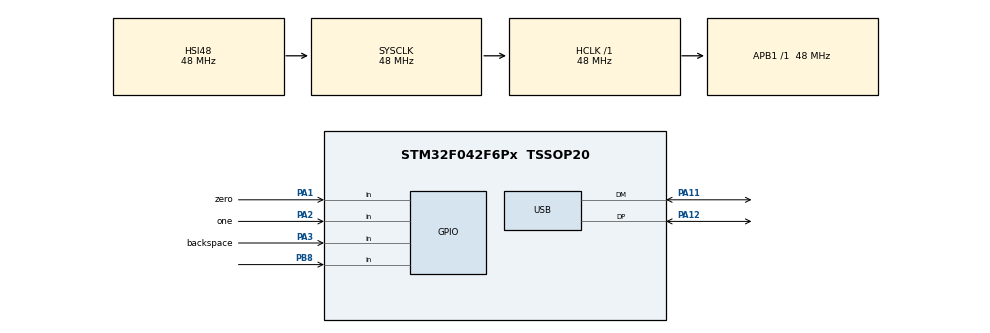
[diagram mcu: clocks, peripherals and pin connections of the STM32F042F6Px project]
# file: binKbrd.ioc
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Mcu.Family=STM32F0
Mcu.Name=STM32F042F6Px
Mcu.Package=TSSOP20
NVIC.USB_IRQn=true\:0\:0\:false\:false\:true\:false\:true
PA1.GPIO_Label=zero
PA1.GPIO_PuPd=GPIO_PULLUP
PA1.Signal=GPIO_Input
PA11.Mode=Device
PA11.Signal=USB_DM
PA12.Mode=Device
PA12.Signal=USB_DP
PA13.Mode=Serial_Wire
PA13.Signal=SYS_SWDIO
PA14.Mode=Serial_Wire
PA14.Signal=SYS_SWCLK
PA2.GPIO_Label=one
PA2.GPIO_PuPd=GPIO_PULLUP
PA2.Signal=GPIO_Input
PA3.GPIO_Label=backspace
PA3.GPIO_PuPd=GPIO_PULLUP
PA3.Signal=GPIO_Input
PB8.Signal=GPIO_Input
ProjectManager.HeapSize=0x200
ProjectManager.StackSize=0x400
ProjectManager.TargetToolchain=STM32CubeIDE
RCC.AHBFreq_Value=48000000
RCC.APB1Freq_Value=48000000
RCC.APB1TimFreq_Value=48000000
RCC.HCLKFreq_Value=48000000
RCC.SYSCLKFreq_VALUE=48000000
RCC.SYSCLKSource=RCC_SYSCLKSOURCE_HSI48
USB_DEVICE.CLASS_NAME_FS=HID
USB_DEVICE.MANUFACTURER_STRING=Predebon
USB_DEVICE.PID_HID_FS=0
USB_DEVICE.PRODUCT_STRING_HID_FS=Binary Keyboard
USB_DEVICE.VID=0
USB_DEVICE.VirtualMode=Hid
USB_DEVICE.VirtualModeFS=Hid_FS
VP_SYS_VS_PINREMAP.Mode=PINREMAP
VP_TIM1_VS_ClockSourceINT.Mode=Internal
VP_USB_DEVICE_VS_USB_DEVICE_HID_FS.Mode=HID_FS
board=custom

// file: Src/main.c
/* USER CODE BEGIN Header */
/**
  ******************************************************************************
  * @file           : main.c
  * @brief          : Main program body
  ******************************************************************************
  * @attention
  *
  * <h2><center>&copy; Copyright (c) 2019 STMicroelectronics.
  * All rights reserved.</center></h2>
  *
  * This software component is licensed by ST under BSD 3-Clause license,
  * the "License"; You may not use this file except in compliance with the
  * License. You may obtain a copy of the License at:
  *                        opensource.org/licenses/BSD-3-Clause
  *
  ******************************************************************************
  */
/* USER CODE END Header */

#include "main.h"
#include "usb_device.h"

/* USER CODE BEGIN Includes */
#include "usbd_hid.h"
extern USBD_HandleTypeDef hUsbDeviceFS;
#include "hid_defines.h"
/* USER CODE END Includes */

TIM_HandleTypeDef htim1;

/* USER CODE BEGIN PV */
uint8_t keyboardReport[8]={0};
uint8_t bitIndex=0;
uint8_t binVal=0;
uint8_t bot0_prev=0,bot1_prev=0,backspace_prev=0;
uint8_t printBits=0;
/* USER CODE END PV */

void SystemClock_Config(void);
static void MX_GPIO_Init(void);
static void MX_TIM1_Init(void);
/* USER CODE BEGIN PFP */
void scanButtons();
void resetValue();
void appendBit(uint8_t bit);
void sendChar(uint8_t c);
void easterEgg();
/* USER CODE END PFP */

int main(void)
{

  /* MCU Configuration--------------------------------------------------------*/

  /* Reset of all peripherals, Initializes the Flash interface and the Systick. */
  HAL_Init();

  /* Configure the system clock */
  SystemClock_Config();

  /* Initialize all configured peripherals */
  MX_GPIO_Init();
  MX_TIM1_Init();
  MX_USB_DEVICE_Init();

  /* Infinite loop */
  while (1)
  {

    /* USER CODE BEGIN 3 */
	  scanButtons();
	  HAL_Delay(15);
  }
  /* USER CODE END 3 */
}

void SystemClock_Config(void)
{
  RCC_OscInitTypeDef RCC_OscInitStruct = {0};
  RCC_ClkInitTypeDef RCC_ClkInitStruct = {0};
  RCC_PeriphCLKInitTypeDef PeriphClkInit = {0};

  /** Initializes the CPU, AHB and APB busses clocks
  */
  RCC_OscInitStruct.OscillatorType = RCC_OSCILLATORTYPE_HSI48;
  RCC_OscInitStruct.HSI48State = RCC_HSI48_ON;
  RCC_OscInitStruct.PLL.PLLState = RCC_PLL_NONE;
  if (HAL_RCC_OscConfig(&RCC_OscInitStruct) != HAL_OK)
  {
    Error_Handler();
  }
  /** Initializes the CPU, AHB and APB busses clocks
  */
  RCC_ClkInitStruct.ClockType = RCC_CLOCKTYPE_HCLK|RCC_CLOCKTYPE_SYSCLK
                              |RCC_CLOCKTYPE_PCLK1;
  RCC_ClkInitStruct.SYSCLKSource = RCC_SYSCLKSOURCE_HSI48;
  RCC_ClkInitStruct.AHBCLKDivider = RCC_SYSCLK_DIV1;
  RCC_ClkInitStruct.APB1CLKDivider = RCC_HCLK_DIV1;

  if (HAL_RCC_ClockConfig(&RCC_ClkInitStruct, FLASH_LATENCY_1) != HAL_OK)
  {
    Error_Handler();
  }
  PeriphClkInit.PeriphClockSelection = RCC_PERIPHCLK_USB;
  PeriphClkInit.UsbClockSelection = RCC_USBCLKSOURCE_HSI48;

  if (HAL_RCCEx_PeriphCLKConfig(&PeriphClkInit) != HAL_OK)
  {
    Error_Handler();
  }
}

static void MX_TIM1_Init(void)
{

  TIM_ClockConfigTypeDef sClockSourceConfig = {0};
  TIM_MasterConfigTypeDef sMasterConfig = {0};

  htim1.Instance = TIM1;
  htim1.Init.Prescaler = 0;
  htim1.Init.CounterMode = TIM_COUNTERMODE_UP;
  htim1.Init.Period = 0;
  htim1.Init.ClockDivision = TIM_CLOCKDIVISION_DIV1;
  htim1.Init.RepetitionCounter = 0;
  htim1.Init.AutoReloadPreload = TIM_AUTORELOAD_PRELOAD_DISABLE;
  if (HAL_TIM_Base_Init(&htim1) != HAL_OK)
  {
    Error_Handler();
  }
  sClockSourceConfig.ClockSource = TIM_CLOCKSOURCE_INTERNAL;
  if (HAL_TIM_ConfigClockSource(&htim1, &sClockSourceConfig) != HAL_OK)
  {
    Error_Handler();
  }
  sMasterConfig.MasterOutputTrigger = TIM_TRGO_RESET;
  sMasterConfig.MasterSlaveMode = TIM_MASTERSLAVEMODE_DISABLE;
  if (HAL_TIMEx_MasterConfigSynchronization(&htim1, &sMasterConfig) != HAL_OK)
  {
    Error_Handler();
  }

}

static void MX_GPIO_Init(void)
{
  GPIO_InitTypeDef GPIO_InitStruct = {0};

  /* GPIO Ports Clock Enable */
  __HAL_RCC_GPIOB_CLK_ENABLE();
  __HAL_RCC_GPIOA_CLK_ENABLE();

  /*Configure GPIO pin : PB8 */
  GPIO_InitStruct.Pin = GPIO_PIN_8;
  GPIO_InitStruct.Mode = GPIO_MODE_INPUT;
  GPIO_InitStruct.Pull = GPIO_NOPULL;
  HAL_GPIO_Init(GPIOB, &GPIO_InitStruct);

  /*Configure GPIO pins : zero_Pin one_Pin backspace_Pin */
  GPIO_InitStruct.Pin = zero_Pin|one_Pin|backspace_Pin;
  GPIO_InitStruct.Mode = GPIO_MODE_INPUT;
  GPIO_InitStruct.Pull = GPIO_PULLUP;
  HAL_GPIO_Init(GPIOA, &GPIO_InitStruct);

}

/* USER CODE BEGIN 4 */
void scanButtons(){
	uint8_t bot0=0,bot1=0,backspace=0;
	printBits = HAL_GPIO_ReadPin(GPIOB, GPIO_PIN_8);
	bot0_prev = bot0;
	bot0 = !HAL_GPIO_ReadPin(zero_GPIO_Port, zero_Pin);
	bot1_prev = bot1;
	bot1 = !HAL_GPIO_ReadPin(one_GPIO_Port, one_Pin);
	backspace_prev = backspace;
	backspace = !HAL_GPIO_ReadPin(backspace_GPIO_Port, backspace_Pin);
	HAL_Delay(1);
	if (bot0 && bot1 && backspace && !bot0_prev && !bot1_prev && !backspace_prev)
		easterEgg();
	else if (bot0 && !bot0_prev){
		appendBit(0);
		while(bot0){
			bot0 = !HAL_GPIO_ReadPin(zero_GPIO_Port, zero_Pin);
			HAL_Delay(1);
		}
	}
	else if (bot1 && !bot1_prev){
		appendBit(1);
		while(bot1){
			bot1 = !HAL_GPIO_ReadPin(one_GPIO_Port, one_Pin);
			HAL_Delay(1);
		}
	}
	else if (backspace && !backspace_prev)
		resetValue();
	else
		return;
}
void resetValue(){
	if (printBits){
		for (int i=0; i<bitIndex; i++)
			sendChar(0x7F);
	}
	bitIndex=0;
	binVal=0;
}
void appendBit(uint8_t bit){
	binVal |= (bit<<(7-bitIndex));
	if(printBits)
		sendChar(bit+0x30);
	bitIndex++;
	if (bitIndex==8){
		sendChar(binVal);
		resetValue();
	}
}
void sendChar(uint8_t c){
	keyboardReport[0]=modifierTable[c];
	keyboardReport[2]=HIDTable[c];
	USBD_HID_SendReport(&hUsbDeviceFS, (uint8_t*)keyboardReport, sizeof(keyboardReport));
	HAL_Delay(20);
	keyboardReport[0]=0;
	keyboardReport[2]=0;
	USBD_HID_SendReport(&hUsbDeviceFS, (uint8_t*)keyboardReport, sizeof(keyboardReport));
	HAL_Delay(20);
}
void easterEgg(){
	  char devilsphrase[]="Hail satan!\n";
	  for (int i=0; i<strlen(devilsphrase); i++)
		    sendChar((uint8_t)devilsphrase[i]);
}
/* USER CODE END 4 */

void Error_Handler(void)
{
}

/************************ (C) COPYRIGHT STMicroelectronics *****END OF FILE****/
